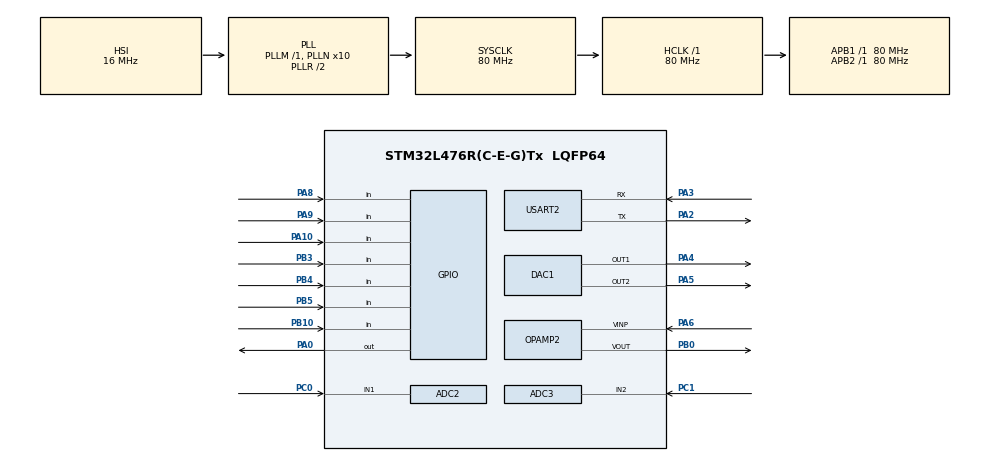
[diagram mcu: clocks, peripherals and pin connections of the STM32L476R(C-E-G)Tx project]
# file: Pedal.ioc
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ADC1.Channel-9\#ChannelRegularConversion=ADC_CHANNEL_15
ADC1.ClockPrescaler=ADC_CLOCK_ASYNC_DIV1
ADC1.ContinuousConvMode=DISABLE
ADC1.DMAContinuousRequests=ENABLE
ADC1.ExternalTrigConv=ADC_EXTERNALTRIG_T2_TRGO
ADC1.NbrOfConversionFlag=1
ADC1.OffsetNumber-9\#ChannelRegularConversion=ADC_OFFSET_NONE
ADC1.Rank-9\#ChannelRegularConversion=1
ADC1.SamplingTime-9\#ChannelRegularConversion=ADC_SAMPLETIME_2CYCLES_5
ADC1.master=1
ADC2.Channel-1\#ChannelRegularConversion=ADC_CHANNEL_1
ADC2.NbrOfConversionFlag=1
ADC2.OffsetNumber-1\#ChannelRegularConversion=ADC_OFFSET_NONE
ADC2.Rank-1\#ChannelRegularConversion=1
ADC2.SamplingTime-1\#ChannelRegularConversion=ADC_SAMPLETIME_2CYCLES_5
ADC3.Channel-1\#ChannelRegularConversion=ADC_CHANNEL_2
ADC3.NbrOfConversionFlag=1
ADC3.OffsetNumber-1\#ChannelRegularConversion=ADC_OFFSET_NONE
ADC3.Rank-1\#ChannelRegularConversion=1
ADC3.SamplingTime-1\#ChannelRegularConversion=ADC_SAMPLETIME_2CYCLES_5
DAC1.DAC_Channel-DAC_OUT2=DAC_CHANNEL_2
DAC1.DAC_OutputBuffer-DAC_OUT1=DAC_OUTPUTBUFFER_ENABLE
DAC1.DAC_OutputBuffer-DAC_OUT2=DAC_OUTPUTBUFFER_ENABLE
DAC1.DAC_Trigger-DAC_OUT1=DAC_TRIGGER_T2_TRGO
DAC1.DAC_Trigger-DAC_OUT2=DAC_TRIGGER_NONE
Dma.ADC1.0.Direction=DMA_PERIPH_TO_MEMORY
Dma.ADC1.0.Instance=DMA1_Channel1
Dma.ADC1.0.MemDataAlignment=DMA_MDATAALIGN_HALFWORD
Dma.ADC1.0.MemInc=DMA_MINC_ENABLE
Dma.ADC1.0.Mode=DMA_CIRCULAR
Dma.ADC1.0.PeriphDataAlignment=DMA_PDATAALIGN_HALFWORD
Dma.ADC1.0.PeriphInc=DMA_PINC_DISABLE
Dma.ADC1.0.Priority=DMA_PRIORITY_LOW
Dma.DAC_CH1.1.Direction=DMA_MEMORY_TO_PERIPH
Dma.DAC_CH1.1.Instance=DMA1_Channel3
Dma.DAC_CH1.1.MemDataAlignment=DMA_MDATAALIGN_HALFWORD
Dma.DAC_CH1.1.MemInc=DMA_MINC_ENABLE
Dma.DAC_CH1.1.Mode=DMA_CIRCULAR
Dma.DAC_CH1.1.PeriphDataAlignment=DMA_PDATAALIGN_HALFWORD
Dma.DAC_CH1.1.PeriphInc=DMA_PINC_DISABLE
Dma.DAC_CH1.1.Priority=DMA_PRIORITY_LOW
Dma.Request0=ADC1
Dma.Request1=DAC_CH1
Mcu.Family=STM32L4
Mcu.Name=STM32L476R(C-E-G)Tx
Mcu.Package=LQFP64
NVIC.DMA1_Channel1_IRQn=true\:0\:0\:false\:false\:true\:false\:true\:true
NVIC.DMA1_Channel3_IRQn=true\:0\:0\:false\:false\:true\:false\:true\:true
NVIC.PriorityGroup=NVIC_PRIORITYGROUP_4
NVIC.TIM6_DAC_IRQn=true\:14\:0\:true\:false\:true\:false\:true\:true
OPAMP2.PgaGain=OPAMP_PGA_GAIN_8
OPAMP2.PowerSupplyRange=OPAMP_POWERSUPPLY_HIGH
PA0.Signal=GPIO_Output
PA10.GPIO_PuPd=GPIO_PULLDOWN
PA10.Signal=GPIO_Input
PA13\ (JTMS-SWDIO).GPIO_Label=TMS
PA13\ (JTMS-SWDIO).Mode=Serial_Wire
PA13\ (JTMS-SWDIO).Signal=SYS_JTMS-SWDIO
PA14\ (JTCK-SWCLK).GPIO_Label=TCK
PA14\ (JTCK-SWCLK).Mode=Serial_Wire
PA14\ (JTCK-SWCLK).Signal=SYS_JTCK-SWCLK
PA2.Mode=Asynchronous
PA2.Signal=USART2_TX
PA3.Mode=Asynchronous
PA3.Signal=USART2_RX
PA4.Signal=COMP_DAC11_group
PA5.Signal=COMP_DAC12_group
PA6.Mode=PGA Not Connected
PA6.Signal=OPAMP2_VINP
PA8.GPIO_PuPd=GPIO_PULLDOWN
PA8.Signal=GPIO_Input
PA9.GPIO_PuPd=GPIO_PULLDOWN
PA9.Signal=GPIO_Input
PB0.Signal=SharedAnalog_PB0
PB10.GPIO_PuPd=GPIO_PULLDOWN
PB10.Signal=GPIO_Input
PB3\ (JTDO-TRACESWO).GPIO_PuPd=GPIO_PULLDOWN
PB3\ (JTDO-TRACESWO).Signal=GPIO_Input
PB4\ (NJTRST).GPIO_PuPd=GPIO_PULLDOWN
PB4\ (NJTRST).Signal=GPIO_Input
PB5.GPIO_PuPd=GPIO_PULLDOWN
PB5.Signal=GPIO_Input
PC0.Signal=ADCx_IN1
PC1.Signal=ADCx_IN2
PC14-OSC32_IN\ (PC14).Mode=LSE-External-Oscillator
PC14-OSC32_IN\ (PC14).Signal=RCC_OSC32_IN
PC15-OSC32_OUT\ (PC15).Mode=LSE-External-Oscillator
PC15-OSC32_OUT\ (PC15).Signal=RCC_OSC32_OUT
PH0-OSC_IN\ (PH0).Signal=RCC_OSC_IN
PH1-OSC_OUT\ (PH1).Signal=RCC_OSC_OUT
ProjectManager.HeapSize=0x200
ProjectManager.StackSize=0x400
ProjectManager.TargetToolchain=STM32CubeIDE
RCC.ADCFreq_Value=64000000
RCC.AHBFreq_Value=80000000
RCC.APB1Freq_Value=80000000
RCC.APB1TimFreq_Value=80000000
RCC.APB2Freq_Value=80000000
RCC.APB2TimFreq_Value=80000000
RCC.CortexFreq_Value=80000000
RCC.HCLKFreq_Value=80000000
RCC.HSE_VALUE=8000000
RCC.HSI_VALUE=16000000
RCC.MSI_VALUE=4000000
RCC.PLLN=10
RCC.PLLSourceVirtual=RCC_PLLSOURCE_HSI
RCC.PREFETCH_ENABLE=1
RCC.SYSCLKFreq_VALUE=80000000
RCC.SYSCLKSource=RCC_SYSCLKSOURCE_PLLCLK
RCC.USBFreq_Value=64000000
RCC.VCOOutputFreq_Value=160000000
SH.ADCx_IN1.0=ADC2_IN1,IN1-Single-Ended
SH.ADCx_IN2.0=ADC3_IN2,IN2-Single-Ended
SH.COMP_DAC11_group.0=DAC1_OUT1,DAC_OUT1
SH.COMP_DAC12_group.0=DAC1_OUT2,DAC_OUT2
SH.SharedAnalog_PB0.0=ADC1_IN15
SH.SharedAnalog_PB0.1=OPAMP2_VOUT,PGA Not Connected
TIM2.Period=1761
TIM2.TIM_MasterOutputTrigger=TIM_TRGO_UPDATE
USART2.VirtualMode-Asynchronous=VM_ASYNC
VP_ADC1_OPAMP2_OUT.Mode=IN15-OPAMP2-Single-Ended
VP_TIM2_VS_ClockSourceINT.Mode=Internal
board=NUCLEO-L476RG

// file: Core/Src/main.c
/* USER CODE BEGIN Header */
/**
  ******************************************************************************
  * @file           : main.c
  * @brief          : Main program body
  ******************************************************************************
  * @attention
  *
  * Copyright (c) 2024 STMicroelectronics.
  * All rights reserved.
  *
  * This software is licensed under terms that can be found in the LICENSE file
  * in the root directory of this software component.
  * If no LICENSE file comes with this software, it is provided AS-IS.
  *
  ******************************************************************************
  */
/* USER CODE END Header */
#include "main.h"

/* USER CODE BEGIN Includes */
#include <stdio.h>
#include <string.h>
#include <stdlib.h>
#include <stdbool.h>
#include "effects.h"
/* USER CODE END Includes */

ADC_HandleTypeDef hadc1;
ADC_HandleTypeDef hadc2;
ADC_HandleTypeDef hadc3;
DMA_HandleTypeDef hdma_adc1;

DAC_HandleTypeDef hdac1;
DMA_HandleTypeDef hdma_dac_ch1;

OPAMP_HandleTypeDef hopamp2;

TIM_HandleTypeDef htim2;

UART_HandleTypeDef huart2;

/* USER CODE BEGIN PV */
#define INPUT_BUFFER_LENGTH 88
uint16_t inputBuffer[INPUT_BUFFER_LENGTH];
uint16_t outputBuffer[INPUT_BUFFER_LENGTH];
/* USER CODE END PV */

void SystemClock_Config(void);
void PeriphCommonClock_Config(void);
static void MX_GPIO_Init(void);
static void MX_DMA_Init(void);
static void MX_DAC1_Init(void);
static void MX_ADC1_Init(void);
static void MX_OPAMP2_Init(void);
static void MX_USART2_UART_Init(void);
static void MX_TIM2_Init(void);
static void MX_ADC2_Init(void);
static void MX_ADC3_Init(void);

/* USER CODE BEGIN 0 */

void writeAnalog(uint16_t value, int channel){
	HAL_DAC_SetValue(&hdac1, channel, DAC_ALIGN_12B_R, value);
}

char stringBuffer[1024];
void sendMessageToComputer(char* message){
	HAL_UART_Transmit(&huart2, (uint8_t*)message, strlen(message), HAL_MAX_DELAY);
}

void sendNumberToComputer(uint16_t number){
	sprintf(stringBuffer, "%d\r\n", number);
	sendMessageToComputer(stringBuffer);
}

// Process the samples
#define TEST_MODE false
bool octaveUpActive = false;
bool cleanSignalActive = false;
bool octaveDownActive = false;
bool delayActive = false;
bool distortionActive = false;
bool envelopeFilterActive = false;
uint16_t gain = 8;
uint16_t delayAmount = 4400;
uint16_t processSample(uint16_t sample) {
	if (TEST_MODE) {
		sample = testNote();
	}

	sample = noiseGate(sample);

	sample = octave(sample, octaveDownActive, cleanSignalActive, octaveUpActive);

	if (delayActive) {
		sample = delay(sample, delayAmount);
	}

	if(envelopeFilterActive) {
		sample = envelopeFilter(sample, delayAmount);
	}

	if (distortionActive) {
		sample = distortion(sample, gain);
	}

	return sample;
}

void processHalfBuffer(uint16_t* inputBuffer, uint16_t* outputBuffer) {
	for (int i=0; i<INPUT_BUFFER_LENGTH/2; i++) {
		outputBuffer[i] = processSample(inputBuffer[i]);
	}
}

// Called when the input buffer is half filled
void HAL_ADC_ConvHalfCpltCallback(ADC_HandleTypeDef* hadc){
	processHalfBuffer(inputBuffer, outputBuffer);
}

// Called when the input buffer is completely filled
void HAL_ADC_ConvCpltCallback(ADC_HandleTypeDef* hadc){
	processHalfBuffer(inputBuffer+(INPUT_BUFFER_LENGTH/2), outputBuffer+(INPUT_BUFFER_LENGTH/2));
}

uint16_t readAnalog(ADC_HandleTypeDef* hadc1){
	HAL_ADC_Start(hadc1);
	HAL_ADC_PollForConversion(hadc1, HAL_MAX_DELAY);
	return HAL_ADC_GetValue(hadc1);
}

/* USER CODE END 0 */

int main(void)
{

  /* MCU Configuration--------------------------------------------------------*/

  /* Reset of all peripherals, Initializes the Flash interface and the Systick. */
  HAL_Init();

  /* Configure the system clock */
  SystemClock_Config();

  /* Configure the peripherals common clocks */
  PeriphCommonClock_Config();

  /* Initialize all configured peripherals */
  MX_GPIO_Init();
  MX_DMA_Init();
  MX_DAC1_Init();
  MX_ADC1_Init();
  MX_OPAMP2_Init();
  MX_USART2_UART_Init();
  MX_TIM2_Init();
  MX_ADC2_Init();
  MX_ADC3_Init();
  /* USER CODE BEGIN 2 */

  HAL_DAC_Start(&hdac1, DAC_CHANNEL_2);
  writeAnalog(256, DAC_CHANNEL_2);
  HAL_OPAMP_Start(&hopamp2);
  HAL_ADC_Start_DMA(&hadc1, (uint32_t*)inputBuffer, INPUT_BUFFER_LENGTH);
  HAL_DAC_Start_DMA(&hdac1, DAC_CHANNEL_1, (uint32_t*)outputBuffer, INPUT_BUFFER_LENGTH, DAC_ALIGN_12B_R);
  HAL_TIM_Base_Start(&htim2);

  /* USER CODE END 2 */

  /* Infinite loop */
  /* USER CODE BEGIN WHILE */
  float delayLPFBeta = calculateBeta(1, 0.017f);
  while (1){
	  distortionActive = HAL_GPIO_ReadPin(GPIOA, GPIO_PIN_10);
	  octaveDownActive = HAL_GPIO_ReadPin(GPIOB, GPIO_PIN_5);
	  cleanSignalActive = HAL_GPIO_ReadPin(GPIOB, GPIO_PIN_4);
	  octaveUpActive = HAL_GPIO_ReadPin(GPIOB, GPIO_PIN_10);
	  delayActive = HAL_GPIO_ReadPin(GPIOA, GPIO_PIN_8);
	  envelopeFilterActive = HAL_GPIO_ReadPin(GPIOA, GPIO_PIN_9);
	  if (distortionActive) {
		  gain = readAnalog(&hadc2)*15u/4096u + 1u;
	  }
	  if (delayActive || envelopeFilterActive) {
		  uint16_t currentDelayAmount = readAnalog(&hadc3)*DELAY_BUFFER_LENGTH/4096;
		  delayAmount = lowPassFilter(currentDelayAmount, delayAmount, delayLPFBeta);
	  }
	  sprintf(stringBuffer, "distortionActive: %d, octaveDownActive: %d, cleanSignalActive: %d, octaveUpActive: %d, delayActive: %d, envelopeFilterActive: %d\r\ngain: %d, delay: %d samples\r\n",
			  distortionActive, octaveDownActive, cleanSignalActive, octaveUpActive, delayActive, envelopeFilterActive, gain, delayAmount);
	  // sendMessageToComputer(stringBuffer);

	  HAL_Delay(17);
    /* USER CODE END WHILE */

  }
}

void SystemClock_Config(void)
{
  RCC_OscInitTypeDef RCC_OscInitStruct = {0};
  RCC_ClkInitTypeDef RCC_ClkInitStruct = {0};

  /** Configure the main internal regulator output voltage
  */
  if (HAL_PWREx_ControlVoltageScaling(PWR_REGULATOR_VOLTAGE_SCALE1) != HAL_OK)
  {
    Error_Handler();
  }

  /** Initializes the RCC Oscillators according to the specified parameters
  * in the RCC_OscInitTypeDef structure.
  */
  RCC_OscInitStruct.OscillatorType = RCC_OSCILLATORTYPE_HSI;
  RCC_OscInitStruct.HSIState = RCC_HSI_ON;
  RCC_OscInitStruct.HSICalibrationValue = RCC_HSICALIBRATION_DEFAULT;
  RCC_OscInitStruct.PLL.PLLState = RCC_PLL_ON;
  RCC_OscInitStruct.PLL.PLLSource = RCC_PLLSOURCE_HSI;
  RCC_OscInitStruct.PLL.PLLM = 1;
  RCC_OscInitStruct.PLL.PLLN = 10;
  RCC_OscInitStruct.PLL.PLLP = RCC_PLLP_DIV7;
  RCC_OscInitStruct.PLL.PLLQ = RCC_PLLQ_DIV2;
  RCC_OscInitStruct.PLL.PLLR = RCC_PLLR_DIV2;
  if (HAL_RCC_OscConfig(&RCC_OscInitStruct) != HAL_OK)
  {
    Error_Handler();
  }

  /** Initializes the CPU, AHB and APB buses clocks
  */
  RCC_ClkInitStruct.ClockType = RCC_CLOCKTYPE_HCLK|RCC_CLOCKTYPE_SYSCLK
                              |RCC_CLOCKTYPE_PCLK1|RCC_CLOCKTYPE_PCLK2;
  RCC_ClkInitStruct.SYSCLKSource = RCC_SYSCLKSOURCE_PLLCLK;
  RCC_ClkInitStruct.AHBCLKDivider = RCC_SYSCLK_DIV1;
  RCC_ClkInitStruct.APB1CLKDivider = RCC_HCLK_DIV1;
  RCC_ClkInitStruct.APB2CLKDivider = RCC_HCLK_DIV1;

  if (HAL_RCC_ClockConfig(&RCC_ClkInitStruct, FLASH_LATENCY_4) != HAL_OK)
  {
    Error_Handler();
  }
}

void PeriphCommonClock_Config(void)
{
  RCC_PeriphCLKInitTypeDef PeriphClkInit = {0};

  /** Initializes the peripherals clock
  */
  PeriphClkInit.PeriphClockSelection = RCC_PERIPHCLK_ADC;
  PeriphClkInit.AdcClockSelection = RCC_ADCCLKSOURCE_PLLSAI1;
  PeriphClkInit.PLLSAI1.PLLSAI1Source = RCC_PLLSOURCE_HSI;
  PeriphClkInit.PLLSAI1.PLLSAI1M = 1;
  PeriphClkInit.PLLSAI1.PLLSAI1N = 8;
  PeriphClkInit.PLLSAI1.PLLSAI1P = RCC_PLLP_DIV7;
  PeriphClkInit.PLLSAI1.PLLSAI1Q = RCC_PLLQ_DIV2;
  PeriphClkInit.PLLSAI1.PLLSAI1R = RCC_PLLR_DIV2;
  PeriphClkInit.PLLSAI1.PLLSAI1ClockOut = RCC_PLLSAI1_ADC1CLK;
  if (HAL_RCCEx_PeriphCLKConfig(&PeriphClkInit) != HAL_OK)
  {
    Error_Handler();
  }
}

static void MX_ADC1_Init(void)
{

  ADC_MultiModeTypeDef multimode = {0};
  ADC_ChannelConfTypeDef sConfig = {0};

  /** Common config
  */
  hadc1.Instance = ADC1;
  hadc1.Init.ClockPrescaler = ADC_CLOCK_ASYNC_DIV1;
  hadc1.Init.Resolution = ADC_RESOLUTION_12B;
  hadc1.Init.DataAlign = ADC_DATAALIGN_RIGHT;
  hadc1.Init.ScanConvMode = ADC_SCAN_DISABLE;
  hadc1.Init.EOCSelection = ADC_EOC_SINGLE_CONV;
  hadc1.Init.LowPowerAutoWait = DISABLE;
  hadc1.Init.ContinuousConvMode = DISABLE;
  hadc1.Init.NbrOfConversion = 1;
  hadc1.Init.DiscontinuousConvMode = DISABLE;
  hadc1.Init.ExternalTrigConv = ADC_EXTERNALTRIG_T2_TRGO;
  hadc1.Init.ExternalTrigConvEdge = ADC_EXTERNALTRIGCONVEDGE_RISING;
  hadc1.Init.DMAContinuousRequests = ENABLE;
  hadc1.Init.Overrun = ADC_OVR_DATA_PRESERVED;
  hadc1.Init.OversamplingMode = DISABLE;
  if (HAL_ADC_Init(&hadc1) != HAL_OK)
  {
    Error_Handler();
  }

  /** Configure the ADC multi-mode
  */
  multimode.Mode = ADC_MODE_INDEPENDENT;
  if (HAL_ADCEx_MultiModeConfigChannel(&hadc1, &multimode) != HAL_OK)
  {
    Error_Handler();
  }

  /** Configure Regular Channel
  */
  sConfig.Channel = ADC_CHANNEL_15;
  sConfig.Rank = ADC_REGULAR_RANK_1;
  sConfig.SamplingTime = ADC_SAMPLETIME_2CYCLES_5;
  sConfig.SingleDiff = ADC_SINGLE_ENDED;
  sConfig.OffsetNumber = ADC_OFFSET_NONE;
  sConfig.Offset = 0;
  if (HAL_ADC_ConfigChannel(&hadc1, &sConfig) != HAL_OK)
  {
    Error_Handler();
  }

}

static void MX_ADC2_Init(void)
{

  ADC_ChannelConfTypeDef sConfig = {0};

  /** Common config
  */
  hadc2.Instance = ADC2;
  hadc2.Init.ClockPrescaler = ADC_CLOCK_ASYNC_DIV1;
  hadc2.Init.Resolution = ADC_RESOLUTION_12B;
  hadc2.Init.DataAlign = ADC_DATAALIGN_RIGHT;
  hadc2.Init.ScanConvMode = ADC_SCAN_DISABLE;
  hadc2.Init.EOCSelection = ADC_EOC_SINGLE_CONV;
  hadc2.Init.LowPowerAutoWait = DISABLE;
  hadc2.Init.ContinuousConvMode = DISABLE;
  hadc2.Init.NbrOfConversion = 1;
  hadc2.Init.DiscontinuousConvMode = DISABLE;
  hadc2.Init.ExternalTrigConv = ADC_SOFTWARE_START;
  hadc2.Init.ExternalTrigConvEdge = ADC_EXTERNALTRIGCONVEDGE_NONE;
  hadc2.Init.DMAContinuousRequests = DISABLE;
  hadc2.Init.Overrun = ADC_OVR_DATA_PRESERVED;
  hadc2.Init.OversamplingMode = DISABLE;
  if (HAL_ADC_Init(&hadc2) != HAL_OK)
  {
    Error_Handler();
  }

  /** Configure Regular Channel
  */
  sConfig.Channel = ADC_CHANNEL_1;
  sConfig.Rank = ADC_REGULAR_RANK_1;
  sConfig.SamplingTime = ADC_SAMPLETIME_2CYCLES_5;
  sConfig.SingleDiff = ADC_SINGLE_ENDED;
  sConfig.OffsetNumber = ADC_OFFSET_NONE;
  sConfig.Offset = 0;
  if (HAL_ADC_ConfigChannel(&hadc2, &sConfig) != HAL_OK)
  {
    Error_Handler();
  }

}

static void MX_ADC3_Init(void)
{

  ADC_ChannelConfTypeDef sConfig = {0};

  /** Common config
  */
  hadc3.Instance = ADC3;
  hadc3.Init.ClockPrescaler = ADC_CLOCK_ASYNC_DIV1;
  hadc3.Init.Resolution = ADC_RESOLUTION_12B;
  hadc3.Init.DataAlign = ADC_DATAALIGN_RIGHT;
  hadc3.Init.ScanConvMode = ADC_SCAN_DISABLE;
  hadc3.Init.EOCSelection = ADC_EOC_SINGLE_CONV;
  hadc3.Init.LowPowerAutoWait = DISABLE;
  hadc3.Init.ContinuousConvMode = DISABLE;
  hadc3.Init.NbrOfConversion = 1;
  hadc3.Init.DiscontinuousConvMode = DISABLE;
  hadc3.Init.ExternalTrigConv = ADC_SOFTWARE_START;
  hadc3.Init.ExternalTrigConvEdge = ADC_EXTERNALTRIGCONVEDGE_NONE;
  hadc3.Init.DMAContinuousRequests = DISABLE;
  hadc3.Init.Overrun = ADC_OVR_DATA_PRESERVED;
  hadc3.Init.OversamplingMode = DISABLE;
  if (HAL_ADC_Init(&hadc3) != HAL_OK)
  {
    Error_Handler();
  }

  /** Configure Regular Channel
  */
  sConfig.Channel = ADC_CHANNEL_2;
  sConfig.Rank = ADC_REGULAR_RANK_1;
  sConfig.SamplingTime = ADC_SAMPLETIME_2CYCLES_5;
  sConfig.SingleDiff = ADC_SINGLE_ENDED;
  sConfig.OffsetNumber = ADC_OFFSET_NONE;
  sConfig.Offset = 0;
  if (HAL_ADC_ConfigChannel(&hadc3, &sConfig) != HAL_OK)
  {
    Error_Handler();
  }

}

static void MX_DAC1_Init(void)
{

  DAC_ChannelConfTypeDef sConfig = {0};

  /** DAC Initialization
  */
  hdac1.Instance = DAC1;
  if (HAL_DAC_Init(&hdac1) != HAL_OK)
  {
    Error_Handler();
  }

  /** DAC channel OUT1 config
  */
  sConfig.DAC_SampleAndHold = DAC_SAMPLEANDHOLD_DISABLE;
  sConfig.DAC_Trigger = DAC_TRIGGER_T2_TRGO;
  sConfig.DAC_OutputBuffer = DAC_OUTPUTBUFFER_ENABLE;
  sConfig.DAC_ConnectOnChipPeripheral = DAC_CHIPCONNECT_DISABLE;
  sConfig.DAC_UserTrimming = DAC_TRIMMING_FACTORY;
  if (HAL_DAC_ConfigChannel(&hdac1, &sConfig, DAC_CHANNEL_1) != HAL_OK)
  {
    Error_Handler();
  }

  /** DAC channel OUT2 config
  */
  sConfig.DAC_Trigger = DAC_TRIGGER_NONE;
  if (HAL_DAC_ConfigChannel(&hdac1, &sConfig, DAC_CHANNEL_2) != HAL_OK)
  {
    Error_Handler();
  }

}

static void MX_OPAMP2_Init(void)
{

  hopamp2.Instance = OPAMP2;
  hopamp2.Init.PowerSupplyRange = OPAMP_POWERSUPPLY_HIGH;
  hopamp2.Init.Mode = OPAMP_PGA_MODE;
  hopamp2.Init.NonInvertingInput = OPAMP_NONINVERTINGINPUT_IO0;
  hopamp2.Init.InvertingInput = OPAMP_INVERTINGINPUT_CONNECT_NO;
  hopamp2.Init.PgaGain = OPAMP_PGA_GAIN_8;
  hopamp2.Init.PowerMode = OPAMP_POWERMODE_NORMALPOWER;
  hopamp2.Init.UserTrimming = OPAMP_TRIMMING_FACTORY;
  if (HAL_OPAMP_Init(&hopamp2) != HAL_OK)
  {
    Error_Handler();
  }

}

static void MX_TIM2_Init(void)
{

  TIM_ClockConfigTypeDef sClockSourceConfig = {0};
  TIM_MasterConfigTypeDef sMasterConfig = {0};

  htim2.Instance = TIM2;
  htim2.Init.Prescaler = 0;
  htim2.Init.CounterMode = TIM_COUNTERMODE_UP;
  htim2.Init.Period = 1761;
  htim2.Init.ClockDivision = TIM_CLOCKDIVISION_DIV1;
  htim2.Init.AutoReloadPreload = TIM_AUTORELOAD_PRELOAD_DISABLE;
  if (HAL_TIM_Base_Init(&htim2) != HAL_OK)
  {
    Error_Handler();
  }
  sClockSourceConfig.ClockSource = TIM_CLOCKSOURCE_INTERNAL;
  if (HAL_TIM_ConfigClockSource(&htim2, &sClockSourceConfig) != HAL_OK)
  {
    Error_Handler();
  }
  sMasterConfig.MasterOutputTrigger = TIM_TRGO_UPDATE;
  sMasterConfig.MasterSlaveMode = TIM_MASTERSLAVEMODE_DISABLE;
  if (HAL_TIMEx_MasterConfigSynchronization(&htim2, &sMasterConfig) != HAL_OK)
  {
    Error_Handler();
  }

}

static void MX_USART2_UART_Init(void)
{

  huart2.Instance = USART2;
  huart2.Init.BaudRate = 115200;
  huart2.Init.WordLength = UART_WORDLENGTH_8B;
  huart2.Init.StopBits = UART_STOPBITS_1;
  huart2.Init.Parity = UART_PARITY_NONE;
  huart2.Init.Mode = UART_MODE_TX_RX;
  huart2.Init.HwFlowCtl = UART_HWCONTROL_NONE;
  huart2.Init.OverSampling = UART_OVERSAMPLING_16;
  huart2.Init.OneBitSampling = UART_ONE_BIT_SAMPLE_DISABLE;
  huart2.AdvancedInit.AdvFeatureInit = UART_ADVFEATURE_NO_INIT;
  if (HAL_UART_Init(&huart2) != HAL_OK)
  {
    Error_Handler();
  }

}

static void MX_DMA_Init(void)
{

  /* DMA controller clock enable */
  __HAL_RCC_DMA1_CLK_ENABLE();

  /* DMA interrupt init */
  /* DMA1_Channel1_IRQn interrupt configuration */
  HAL_NVIC_SetPriority(DMA1_Channel1_IRQn, 0, 0);
  HAL_NVIC_EnableIRQ(DMA1_Channel1_IRQn);
  /* DMA1_Channel3_IRQn interrupt configuration */
  HAL_NVIC_SetPriority(DMA1_Channel3_IRQn, 0, 0);
  HAL_NVIC_EnableIRQ(DMA1_Channel3_IRQn);

}

static void MX_GPIO_Init(void)
{
  GPIO_InitTypeDef GPIO_InitStruct = {0};

  /* GPIO Ports Clock Enable */
  __HAL_RCC_GPIOC_CLK_ENABLE();
  __HAL_RCC_GPIOH_CLK_ENABLE();
  __HAL_RCC_GPIOA_CLK_ENABLE();
  __HAL_RCC_GPIOB_CLK_ENABLE();

  /*Configure GPIO pin Output Level */
  HAL_GPIO_WritePin(GPIOA, GPIO_PIN_0, GPIO_PIN_RESET);

  /*Configure GPIO pin : PA0 */
  GPIO_InitStruct.Pin = GPIO_PIN_0;
  GPIO_InitStruct.Mode = GPIO_MODE_OUTPUT_PP;
  GPIO_InitStruct.Pull = GPIO_NOPULL;
  GPIO_InitStruct.Speed = GPIO_SPEED_FREQ_LOW;
  HAL_GPIO_Init(GPIOA, &GPIO_InitStruct);

  /*Configure GPIO pins : PB10 PB3 PB4 PB5 */
  GPIO_InitStruct.Pin = GPIO_PIN_10|GPIO_PIN_3|GPIO_PIN_4|GPIO_PIN_5;
  GPIO_InitStruct.Mode = GPIO_MODE_INPUT;
  GPIO_InitStruct.Pull = GPIO_PULLDOWN;
  HAL_GPIO_Init(GPIOB, &GPIO_InitStruct);

  /*Configure GPIO pins : PA8 PA9 PA10 */
  GPIO_InitStruct.Pin = GPIO_PIN_8|GPIO_PIN_9|GPIO_PIN_10;
  GPIO_InitStruct.Mode = GPIO_MODE_INPUT;
  GPIO_InitStruct.Pull = GPIO_PULLDOWN;
  HAL_GPIO_Init(GPIOA, &GPIO_InitStruct);

}

void Error_Handler(void)
{
  __disable_irq();
  while (1)
  {
  }
}
